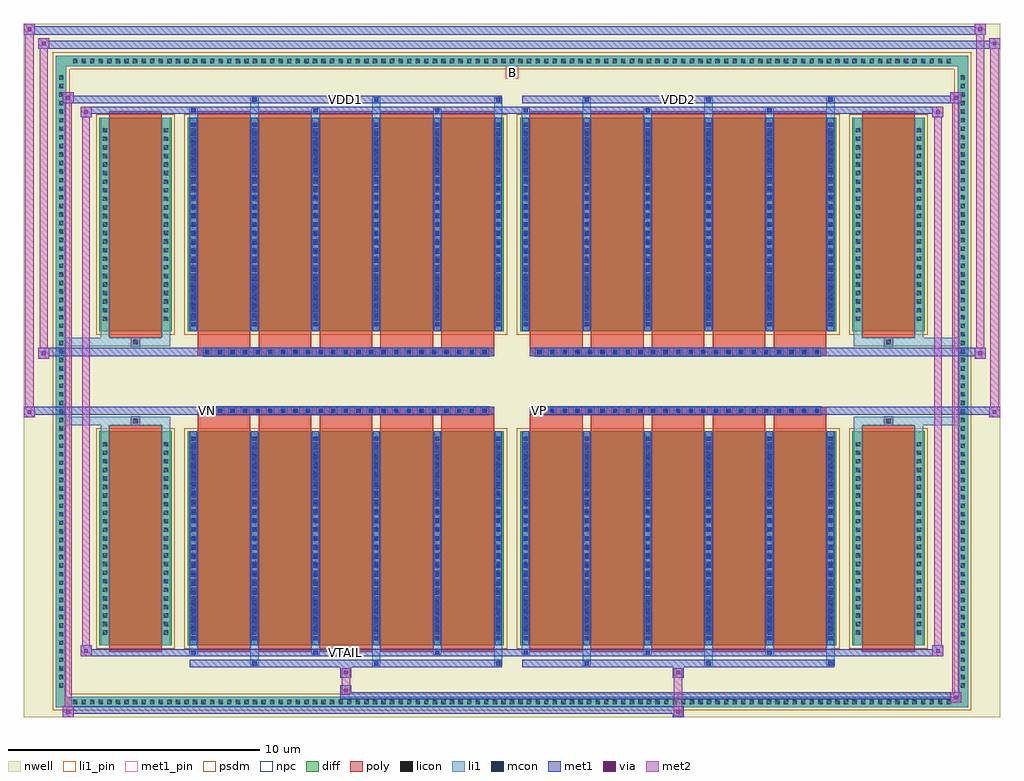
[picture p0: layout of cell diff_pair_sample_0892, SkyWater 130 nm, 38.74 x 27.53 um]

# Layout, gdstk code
import gdstk
lib = gdstk.Library(unit=1e-6, precision=5e-09)
def R(c, l, rs):  # rectangles x0, y0, x1, y1
    for r in rs: c.add(gdstk.rectangle(r[:2], r[2:], *l))
def A(c, l, x, y, w, h, nx, ny, dx, dy):  # array of equal rectangles
    R(c, l, [(x+i*dx, y+j*dy, x+i*dx+w, y+j*dy+h) for i in range(nx) for j in range(ny)])
def P(c, l, *ps):  # polygons
    for p in ps: c.add(gdstk.Polygon(p, *l))
nwell = (64, 20)
diff = (65, 20)
poly = (66, 20)
licon = (66, 44)
li1_pin = (67, 16)
li1 = (67, 20)
mcon = (67, 44)
met1_pin = (68, 16)
met1 = (68, 20)
via = (68, 44)
met2 = (69, 20)
psdm = (94, 20)
npc = (95, 20)

diff_pair_sample_0892 = lib.new_cell('diff_pair_sample_0892')
R(diff_pair_sample_0892, nwell, [(-19.37,-13.33,19.37,14.2), (-16.69,-11.52,-0.01,-0.8), (0.01,-11.52,16.69,-0.8), (-16.69,0.8,-0.01,11.52), (0.01,0.8,16.69,11.52)])
A(diff_pair_sample_0892, diff, -17.545, -12.93, 0.41, 0.41, 103, 2, 0.34, 25.45)
A(diff_pair_sample_0892, diff, -18.1, -12.275, 0.41, 0.41, 1, 72, 0, 0.34)
A(diff_pair_sample_0892, diff, 17.69, -12.275, 0.41, 0.41, 1, 72, 0, 0.34)
R(diff_pair_sample_0892, diff, [(-17.545,-12.93,17.545,-12.52), (-18.1,-12.275,-17.69,12.275), (17.69,-12.275,18.1,12.275), (-16.38,-10.475,-13.51,-1.985), (-12.87,-10.475,-0.32,-1.985), (0.32,-10.475,12.87,-1.985), (13.51,-10.475,16.38,-1.985), (-16.38,1.985,-13.51,10.475), (-12.87,1.985,-0.32,10.475), (0.32,1.985,12.87,10.475), (13.51,1.985,16.38,10.475), (-17.545,12.52,17.545,12.93)])
P(diff_pair_sample_0892, diff, [(18.1,12.93),(-18.1,12.93),(-18.1,-12.52),(-17.69,-12.52),(-17.69,12.52),(17.69,12.52),(17.69,-12.52),(-17.69,-12.52),(-18.1,-12.52),(-18.1,-12.93),(18.1,-12.93)])
A(diff_pair_sample_0892, poly, -12.48, -10.725, 2.09, 8.99, 5, 2, 2.42, 12.46)
A(diff_pair_sample_0892, poly, 0.71, -10.725, 2.09, 8.99, 5, 2, 2.42, 12.46)
A(diff_pair_sample_0892, poly, -12.48, -1.735, 2.09, 0.405, 5, 2, 2.42, 3.065)
A(diff_pair_sample_0892, poly, 0.71, -1.735, 2.09, 0.405, 5, 2, 2.42, 3.065)
A(diff_pair_sample_0892, poly, -12.26, -1.33, 0.33, 0.33, 23, 2, 0.5, 2.33)
A(diff_pair_sample_0892, poly, 0.93, -1.33, 0.33, 0.33, 23, 2, 0.5, 2.33)
R(diff_pair_sample_0892, poly, [(-15.99,-10.725,-13.9,-1.735), (13.9,-10.725,15.99,-1.735), (-15.11,-1.735,-14.78,-1.405), (-15.11,-1.735,-14.78,-1.405), (14.78,-1.735,15.11,-1.405), (14.78,-1.735,15.11,-1.405), (-12.48,-1.33,-0.71,-1), (0.71,-1.33,12.48,-1), (-12.48,1,-0.71,1.33), (0.71,1,12.48,1.33), (-15.11,1.405,-14.78,1.735), (-15.11,1.405,-14.78,1.735), (14.78,1.405,15.11,1.735), (14.78,1.405,15.11,1.735), (-15.99,1.735,-13.9,10.725), (13.9,1.735,15.99,10.725)])
A(diff_pair_sample_0892, licon, -17.425, -12.81, 0.17, 0.17, 103, 2, 0.34, 25.45)
A(diff_pair_sample_0892, licon, -17.98, -12.155, 0.17, 0.17, 1, 72, 0, 0.34)
A(diff_pair_sample_0892, licon, 17.81, -12.155, 0.17, 0.17, 1, 72, 0, 0.34)
A(diff_pair_sample_0892, licon, -16.24, -10.055, 0.17, 0.17, 1, 23, 0, 0.34)
A(diff_pair_sample_0892, licon, -13.82, -10.055, 0.17, 0.17, 1, 23, 0, 0.34)
A(diff_pair_sample_0892, licon, -12.73, -10.055, 0.17, 0.17, 6, 23, 2.42, 0.34)
A(diff_pair_sample_0892, licon, 0.46, -10.055, 0.17, 0.17, 6, 23, 2.42, 0.34)
A(diff_pair_sample_0892, licon, 13.65, -10.055, 0.17, 0.17, 1, 23, 0, 0.34)
A(diff_pair_sample_0892, licon, 16.07, -10.055, 0.17, 0.17, 1, 23, 0, 0.34)
A(diff_pair_sample_0892, licon, -12.18, -1.25, 0.17, 0.17, 23, 2, 0.5, 2.33)
A(diff_pair_sample_0892, licon, 1.01, -1.25, 0.17, 0.17, 23, 2, 0.5, 2.33)
A(diff_pair_sample_0892, licon, -16.24, 2.405, 0.17, 0.17, 1, 23, 0, 0.34)
A(diff_pair_sample_0892, licon, -13.82, 2.405, 0.17, 0.17, 1, 23, 0, 0.34)
A(diff_pair_sample_0892, licon, -12.73, 2.405, 0.17, 0.17, 6, 23, 2.42, 0.34)
A(diff_pair_sample_0892, licon, 0.46, 2.405, 0.17, 0.17, 6, 23, 2.42, 0.34)
A(diff_pair_sample_0892, licon, 13.65, 2.405, 0.17, 0.17, 1, 23, 0, 0.34)
A(diff_pair_sample_0892, licon, 16.07, 2.405, 0.17, 0.17, 1, 23, 0, 0.34)
R(diff_pair_sample_0892, licon, [(-15.03,-1.655,-14.86,-1.485), (14.86,-1.655,15.03,-1.485), (-15.03,1.485,-14.86,1.655), (14.86,1.485,15.03,1.655)])
R(diff_pair_sample_0892, li1_pin, [(-0.25,12.02,0.25,12.52)])
A(diff_pair_sample_0892, li1, -17.505, -12.89, 0.33, 0.33, 103, 2, 0.34, 25.45)
A(diff_pair_sample_0892, li1, -18.06, -12.235, 0.33, 0.33, 1, 72, 0, 0.34)
A(diff_pair_sample_0892, li1, 17.73, -12.235, 0.33, 0.33, 1, 72, 0, 0.34)
A(diff_pair_sample_0892, li1, -10.39, -11.28, 0.33, 0.805, 3, 2, 4.84, 21.755)
A(diff_pair_sample_0892, li1, -10.31, -11.28, 0.17, 0.17, 3, 2, 4.84, 22.39)
A(diff_pair_sample_0892, li1, 2.8, -11.28, 0.33, 0.805, 3, 2, 4.84, 21.755)
A(diff_pair_sample_0892, li1, 2.88, -11.28, 0.17, 0.17, 3, 2, 4.84, 22.39)
A(diff_pair_sample_0892, li1, -12.81, -10.85, 0.33, 0.375, 3, 2, 4.84, 21.325)
A(diff_pair_sample_0892, li1, -12.73, -10.85, 0.17, 0.17, 3, 2, 4.84, 21.53)
A(diff_pair_sample_0892, li1, 0.38, -10.85, 0.33, 0.375, 3, 2, 4.84, 21.325)
A(diff_pair_sample_0892, li1, 0.46, -10.85, 0.17, 0.17, 3, 2, 4.84, 21.53)
A(diff_pair_sample_0892, li1, -12.81, -10.475, 0.33, 8.49, 6, 2, 2.42, 12.46)
A(diff_pair_sample_0892, li1, 0.38, -10.475, 0.33, 8.49, 6, 2, 2.42, 12.46)
A(diff_pair_sample_0892, li1, -12.73, -10.275, 0.17, 0.17, 6, 23, 2.42, 0.36)
A(diff_pair_sample_0892, li1, -12.73, -10.275, 0.17, 8.09, 6, 2, 2.42, 12.46)
A(diff_pair_sample_0892, li1, 0.46, -10.275, 0.17, 0.17, 6, 23, 2.42, 0.36)
A(diff_pair_sample_0892, li1, 0.46, -10.275, 0.17, 8.09, 6, 2, 2.42, 12.46)
A(diff_pair_sample_0892, li1, -16.32, -10.135, 0.33, 0.33, 1, 23, 0, 0.34)
A(diff_pair_sample_0892, li1, -13.9, -10.135, 0.33, 0.33, 1, 23, 0, 0.34)
A(diff_pair_sample_0892, li1, -12.81, -10.135, 0.33, 0.33, 6, 23, 2.42, 0.34)
A(diff_pair_sample_0892, li1, 0.38, -10.135, 0.33, 0.33, 6, 23, 2.42, 0.34)
A(diff_pair_sample_0892, li1, 13.57, -10.135, 0.33, 0.33, 1, 23, 0, 0.34)
A(diff_pair_sample_0892, li1, 15.99, -10.135, 0.33, 0.33, 1, 23, 0, 0.34)
A(diff_pair_sample_0892, li1, -12.26, -1.33, 0.33, 0.33, 23, 2, 0.5, 2.33)
A(diff_pair_sample_0892, li1, 0.93, -1.33, 0.33, 0.33, 23, 2, 0.5, 2.33)
A(diff_pair_sample_0892, li1, -12.73, 2.185, 0.17, 0.17, 6, 23, 2.42, 0.36)
A(diff_pair_sample_0892, li1, 0.46, 2.185, 0.17, 0.17, 6, 23, 2.42, 0.36)
A(diff_pair_sample_0892, li1, -16.32, 2.325, 0.33, 0.33, 1, 23, 0, 0.34)
A(diff_pair_sample_0892, li1, -13.9, 2.325, 0.33, 0.33, 1, 23, 0, 0.34)
A(diff_pair_sample_0892, li1, -12.81, 2.325, 0.33, 0.33, 6, 23, 2.42, 0.34)
A(diff_pair_sample_0892, li1, 0.38, 2.325, 0.33, 0.33, 6, 23, 2.42, 0.34)
A(diff_pair_sample_0892, li1, 13.57, 2.325, 0.33, 0.33, 1, 23, 0, 0.34)
A(diff_pair_sample_0892, li1, 15.99, 2.325, 0.33, 0.33, 1, 23, 0, 0.34)
R(diff_pair_sample_0892, li1, [(-18.1,-12.93,-17.69,-12.52), (-18.1,-12.93,-17.69,-12.52), (-17.69,-12.93,17.69,-12.52), (17.69,-12.93,18.1,-12.52), (17.69,-12.93,18.1,-12.52), (-18.1,-12.52,-17.69,12.52), (17.69,-12.52,18.1,12.52), (-16.32,-10.475,-15.99,-1.985), (-13.9,-10.475,-13.57,-1.985), (13.57,-10.475,13.9,-1.985), (15.99,-10.475,16.32,-1.985), (-16.32,-1.985,-15.99,-1.405), (-13.9,-1.985,-13.57,-1.405), (13.57,-1.985,13.9,-1.405), (15.99,-1.985,16.32,-1.405), (-18.1,-1.735,-15.11,-1.405), (-16.32,-1.735,-15.11,-1.405), (-15.11,-1.735,-14.78,-1.405), (-14.78,-1.735,-13.57,-1.405), (13.57,-1.735,14.78,-1.405), (14.78,-1.735,15.11,-1.405), (14.78,-1.735,18.1,-1.405), (15.11,-1.735,16.32,-1.405), (-18.1,1.405,-15.11,1.735), (-16.32,1.405,-15.11,1.735), (-16.32,1.405,-15.99,1.985), (-15.11,1.405,-14.78,1.735), (-14.78,1.405,-13.57,1.735), (-13.9,1.405,-13.57,1.985), (13.57,1.405,14.78,1.735), (13.57,1.405,13.9,1.985), (14.78,1.405,15.11,1.735), (14.78,1.405,18.1,1.735), (15.11,1.405,16.32,1.735), (15.99,1.405,16.32,1.985), (-16.32,1.985,-15.99,10.475), (-13.9,1.985,-13.57,10.475), (13.57,1.985,13.9,10.475), (15.99,1.985,16.32,10.475), (-18.1,12.52,-17.69,12.93), (-18.1,12.52,-17.69,12.93), (-17.69,12.52,17.69,12.93), (17.69,12.52,18.1,12.93), (17.69,12.52,18.1,12.93)])
A(diff_pair_sample_0892, mcon, -10.31, -11.28, 0.17, 0.17, 3, 2, 4.84, 22.39)
A(diff_pair_sample_0892, mcon, 2.88, -11.28, 0.17, 0.17, 3, 2, 4.84, 22.39)
A(diff_pair_sample_0892, mcon, -12.73, -10.85, 0.17, 0.17, 3, 2, 4.84, 21.53)
A(diff_pair_sample_0892, mcon, 0.46, -10.85, 0.17, 0.17, 3, 2, 4.84, 21.53)
A(diff_pair_sample_0892, mcon, -12.73, -10.275, 0.17, 0.17, 6, 23, 2.42, 0.36)
A(diff_pair_sample_0892, mcon, 0.46, -10.275, 0.17, 0.17, 6, 23, 2.42, 0.36)
A(diff_pair_sample_0892, mcon, -12.18, -1.25, 0.17, 0.17, 23, 2, 0.5, 2.33)
A(diff_pair_sample_0892, mcon, 1.01, -1.25, 0.17, 0.17, 23, 2, 0.5, 2.33)
A(diff_pair_sample_0892, mcon, -12.73, 2.185, 0.17, 0.17, 6, 23, 2.42, 0.36)
A(diff_pair_sample_0892, mcon, 0.46, 2.185, 0.17, 0.17, 6, 23, 2.42, 0.36)
R(diff_pair_sample_0892, met1_pin, [(-6.73,-10.89,-6.46,-10.62), (-12.23,-1.29,-11.96,-1.02), (0.96,-1.29,1.23,-1.02), (-6.73,11.07,-6.46,11.34), (6.46,11.07,6.73,11.34)])
A(diff_pair_sample_0892, met1, -10.37, -11.34, 0.29, 0.29, 3, 2, 4.84, 22.39)
A(diff_pair_sample_0892, met1, 2.82, -11.34, 0.29, 0.29, 3, 2, 4.84, 22.39)
A(diff_pair_sample_0892, met1, -12.79, -10.91, 0.29, 0.29, 3, 2, 4.84, 21.53)
A(diff_pair_sample_0892, met1, 0.4, -10.91, 0.29, 0.29, 3, 2, 4.84, 21.53)
A(diff_pair_sample_0892, met1, -12.79, -10.475, 0.29, 8.49, 6, 2, 2.42, 12.46)
A(diff_pair_sample_0892, met1, 0.4, -10.475, 0.29, 8.49, 6, 2, 2.42, 12.46)
A(diff_pair_sample_0892, met1, -12.79, -10.335, 0.29, 0.29, 6, 23, 2.42, 0.36)
A(diff_pair_sample_0892, met1, 0.4, -10.335, 0.29, 0.29, 6, 23, 2.42, 0.36)
A(diff_pair_sample_0892, met1, -12.24, -1.31, 0.29, 0.29, 23, 2, 0.5, 2.33)
A(diff_pair_sample_0892, met1, 0.95, -1.31, 0.29, 0.29, 23, 2, 0.5, 2.33)
A(diff_pair_sample_0892, met1, -12.79, 2.125, 0.29, 0.29, 6, 23, 2.42, 0.36)
A(diff_pair_sample_0892, met1, 0.4, 2.125, 0.29, 0.29, 6, 23, 2.42, 0.36)
R(diff_pair_sample_0892, met1, [(-17.83,-13.33,-17.4,-12.9), (6.38,-13.33,6.81,-12.9), (-17.83,-13.19,6.81,-12.9), (17.4,-12.76,17.83,-12.33), (-6.81,-12.62,17.83,-12.33), (-6.81,-12.48,-6.38,-12.05), (-6.81,-11.77,-6.38,-11.34), (6.38,-11.77,6.81,-11.34), (-12.79,-11.34,-0.4,-11.05), (0.4,-11.34,12.79,-11.05), (-17.12,-10.91,-16.69,-10.48), (-17.12,-10.91,-12.79,-10.62), (-12.79,-10.91,-0.4,-10.62), (-0.4,-10.91,0.4,-10.62), (0.4,-10.91,12.79,-10.62), (12.79,-10.91,17.12,-10.62), (16.69,-10.91,17.12,-10.48), (-19.37,-1.43,-18.94,-1), (18.94,-1.43,19.37,-1), (-19.37,-1.33,-0.71,-1), (-12.48,-1.33,-0.71,-1), (0.71,-1.33,12.48,-1), (0.71,-1.33,19.37,-1), (-18.8,0.9,-18.37,1.33), (18.37,0.9,18.8,1.33), (-18.8,1,-12.48,1.33), (-12.48,1,-0.71,1.33), (0.71,1,12.48,1.33), (12.48,1,18.8,1.33), (-17.12,10.48,-16.69,10.91), (16.69,10.48,17.12,10.91), (-17.12,10.62,-12.79,10.91), (-12.79,10.62,-0.4,10.91), (-0.4,10.62,0.4,10.91), (0.4,10.62,12.79,10.91), (12.79,10.62,17.12,10.91), (-17.83,11.05,-17.4,11.48), (-17.83,11.05,-12.79,11.34), (-12.79,11.05,-0.4,11.34), (0.4,11.05,12.79,11.34), (12.79,11.05,17.83,11.34), (17.4,11.05,17.83,11.48), (-18.8,13.2,-18.37,13.63), (-18.8,13.2,-16.69,13.53), (-16.69,13.2,16.69,13.53), (16.69,13.2,19.37,13.53), (18.94,13.2,19.37,13.63), (-19.37,13.77,-18.94,14.2), (-19.37,13.77,-16.69,14.1), (-16.69,13.77,16.69,14.1), (16.69,13.77,18.8,14.1), (18.37,13.77,18.8,14.2)])
R(diff_pair_sample_0892, via, [(-17.69,-13.19,-17.54,-13.04), (6.52,-13.19,6.67,-13.04), (17.54,-12.62,17.69,-12.47), (-6.67,-12.34,-6.52,-12.19), (-6.67,-11.63,-6.52,-11.48), (6.52,-11.63,6.67,-11.48), (-16.98,-10.77,-16.83,-10.62), (16.83,-10.77,16.98,-10.62), (-19.23,-1.29,-19.08,-1.14), (19.08,-1.29,19.23,-1.14), (-18.66,1.04,-18.51,1.19), (18.51,1.04,18.66,1.19), (-16.98,10.62,-16.83,10.77), (16.83,10.62,16.98,10.77), (-17.69,11.19,-17.54,11.34), (17.54,11.19,17.69,11.34), (-18.66,13.34,-18.51,13.49), (19.08,13.34,19.23,13.49), (-19.23,13.91,-19.08,14.06), (18.51,13.91,18.66,14.06)])
R(diff_pair_sample_0892, met2, [(-17.83,-13.33,-17.4,-12.9), (-17.76,-13.33,-17.47,11.48), (-17.47,-13.33,-17.4,-12.9), (-17.78,-13.28,-17.45,-12.95), (6.43,-13.28,6.76,-12.95), (6.43,-12.95,6.76,-11.72), (17.4,-12.76,17.83,-12.33), (17.47,-12.76,17.76,11.48), (17.76,-12.76,17.83,-12.33), (17.45,-12.71,17.78,-12.38), (-6.76,-12.43,-6.43,-12.1), (-6.76,-12.1,-6.43,-11.72), (-6.76,-11.72,-6.43,-11.39), (6.43,-11.72,6.76,-11.39), (-17.12,-10.91,-16.69,-10.48), (-17.05,-10.91,-16.76,10.91), (-16.76,-10.91,-16.69,-10.48), (16.69,-10.91,17.12,-10.48), (16.76,-10.91,17.05,10.91), (17.05,-10.91,17.12,-10.48), (-17.07,-10.86,-16.74,-10.53), (16.74,-10.86,17.07,-10.53), (-19.37,-1.43,-18.94,-1), (-19.32,-1.43,-18.99,14.2), (-18.99,-1.43,-18.94,-1), (18.94,-1.43,19.37,-1), (18.99,-1.43,19.32,13.63), (19.32,-1.43,19.37,-1), (-19.32,-1.38,-18.99,-1.05), (18.99,-1.38,19.32,-1.05), (-18.8,0.9,-18.37,1.33), (-18.75,0.9,-18.42,13.63), (-18.42,0.9,-18.37,1.33), (18.37,0.9,18.8,1.33), (18.42,0.9,18.75,14.2), (18.75,0.9,18.8,1.33), (-18.75,0.95,-18.42,1.28), (18.42,0.95,18.75,1.28), (-17.12,10.48,-16.69,10.91), (-16.76,10.48,-16.69,10.91), (16.69,10.48,17.12,10.91), (17.05,10.48,17.12,10.91), (-17.07,10.53,-16.74,10.86), (16.74,10.53,17.07,10.86), (-17.83,11.05,-17.4,11.48), (-17.47,11.05,-17.4,11.48), (17.4,11.05,17.83,11.48), (17.76,11.05,17.83,11.48), (-17.78,11.1,-17.45,11.43), (17.45,11.1,17.78,11.43), (-18.8,13.2,-18.37,13.63), (-18.42,13.2,-18.37,13.63), (18.94,13.2,19.37,13.63), (19.32,13.2,19.37,13.63), (-18.75,13.25,-18.42,13.58), (18.99,13.25,19.32,13.58), (-19.37,13.77,-18.94,14.2), (-18.99,13.77,-18.94,14.2), (18.37,13.77,18.8,14.2), (18.75,13.77,18.8,14.2), (-19.32,13.82,-18.99,14.15), (18.42,13.82,18.75,14.15)])
R(diff_pair_sample_0892, psdm, [(-16.51,-10.605,-13.38,-1.855), (-13,-10.605,-0.19,-1.855), (0.19,-10.605,13,-1.855), (13.38,-10.605,16.51,-1.855), (-16.51,1.855,-13.38,10.605), (-13,1.855,-0.19,10.605), (0.19,1.855,13,10.605), (13.38,1.855,16.51,10.605)])
P(diff_pair_sample_0892, psdm, [(18.23,13.06),(-18.23,13.06),(-18.23,-12.39),(-17.56,-12.39),(-17.56,12.39),(17.56,12.39),(17.56,-12.39),(-17.56,-12.39),(-18.23,-12.39),(-18.23,-13.06),(18.23,-13.06)])
A(diff_pair_sample_0892, npc, -12.28, -1.35, 0.37, 0.37, 23, 2, 0.5, 2.33)
A(diff_pair_sample_0892, npc, 0.91, -1.35, 0.37, 0.37, 23, 2, 0.5, 2.33)
R(diff_pair_sample_0892, npc, [(-15.13,-1.755,-14.76,-1.385), (14.76,-1.755,15.13,-1.385), (-12.28,-1.35,-11.41,-0.98), (-12.28,-1.35,-11.41,-0.98), (-11.78,-1.35,-10.91,-0.98), (-11.78,-1.35,-10.91,-0.98), (-11.28,-1.35,-10.41,-0.98), (-11.28,-1.35,-10.41,-0.98), (-10.78,-1.35,-9.91,-0.98), (-10.78,-1.35,-9.91,-0.98), (-10.28,-1.35,-9.41,-0.98), (-10.28,-1.35,-9.41,-0.98), (-9.78,-1.35,-8.91,-0.98), (-9.78,-1.35,-8.91,-0.98), (-9.28,-1.35,-8.41,-0.98), (-9.28,-1.35,-8.41,-0.98), (-8.78,-1.35,-7.91,-0.98), (-8.78,-1.35,-7.91,-0.98), (-8.28,-1.35,-7.41,-0.98), (-8.28,-1.35,-7.41,-0.98), (-7.78,-1.35,-6.91,-0.98), (-7.78,-1.35,-6.91,-0.98), (-7.28,-1.35,-6.41,-0.98), (-7.28,-1.35,-6.41,-0.98), (-6.78,-1.35,-5.91,-0.98), (-6.78,-1.35,-5.91,-0.98), (-6.28,-1.35,-5.41,-0.98), (-6.28,-1.35,-5.41,-0.98), (-5.78,-1.35,-4.91,-0.98), (-5.78,-1.35,-4.91,-0.98), (-5.28,-1.35,-4.41,-0.98), (-5.28,-1.35,-4.41,-0.98), (-4.78,-1.35,-3.91,-0.98), (-4.78,-1.35,-3.91,-0.98), (-4.28,-1.35,-3.41,-0.98), (-4.28,-1.35,-3.41,-0.98), (-3.78,-1.35,-2.91,-0.98), (-3.78,-1.35,-2.91,-0.98), (-3.28,-1.35,-2.41,-0.98), (-3.28,-1.35,-2.41,-0.98), (-2.78,-1.35,-1.91,-0.98), (-2.78,-1.35,-1.91,-0.98), (-2.28,-1.35,-1.41,-0.98), (-2.28,-1.35,-1.41,-0.98), (-1.78,-1.35,-0.91,-0.98), (-1.78,-1.35,-0.91,-0.98), (0.91,-1.35,1.78,-0.98), (0.91,-1.35,1.78,-0.98), (1.41,-1.35,2.28,-0.98), (1.41,-1.35,2.28,-0.98), (1.91,-1.35,2.78,-0.98), (1.91,-1.35,2.78,-0.98), (2.41,-1.35,3.28,-0.98), (2.41,-1.35,3.28,-0.98), (2.91,-1.35,3.78,-0.98), (2.91,-1.35,3.78,-0.98), (3.41,-1.35,4.28,-0.98), (3.41,-1.35,4.28,-0.98), (3.91,-1.35,4.78,-0.98), (3.91,-1.35,4.78,-0.98), (4.41,-1.35,5.28,-0.98), (4.41,-1.35,5.28,-0.98), (4.91,-1.35,5.78,-0.98), (4.91,-1.35,5.78,-0.98), (5.41,-1.35,6.28,-0.98), (5.41,-1.35,6.28,-0.98), (5.91,-1.35,6.78,-0.98), (5.91,-1.35,6.78,-0.98), (6.41,-1.35,7.28,-0.98), (6.41,-1.35,7.28,-0.98), (6.91,-1.35,7.78,-0.98), (6.91,-1.35,7.78,-0.98), (7.41,-1.35,8.28,-0.98), (7.41,-1.35,8.28,-0.98), (7.91,-1.35,8.78,-0.98), (7.91,-1.35,8.78,-0.98), (8.41,-1.35,9.28,-0.98), (8.41,-1.35,9.28,-0.98), (8.91,-1.35,9.78,-0.98), (8.91,-1.35,9.78,-0.98), (9.41,-1.35,10.28,-0.98), (9.41,-1.35,10.28,-0.98), (9.91,-1.35,10.78,-0.98), (9.91,-1.35,10.78,-0.98), (10.41,-1.35,11.28,-0.98), (10.41,-1.35,11.28,-0.98), (10.91,-1.35,11.78,-0.98), (10.91,-1.35,11.78,-0.98), (11.41,-1.35,12.28,-0.98), (11.41,-1.35,12.28,-0.98), (-12.28,0.98,-11.41,1.35), (-12.28,0.98,-11.41,1.35), (-11.78,0.98,-10.91,1.35), (-11.78,0.98,-10.91,1.35), (-11.28,0.98,-10.41,1.35), (-11.28,0.98,-10.41,1.35), (-10.78,0.98,-9.91,1.35), (-10.78,0.98,-9.91,1.35), (-10.28,0.98,-9.41,1.35), (-10.28,0.98,-9.41,1.35), (-9.78,0.98,-8.91,1.35), (-9.78,0.98,-8.91,1.35), (-9.28,0.98,-8.41,1.35), (-9.28,0.98,-8.41,1.35), (-8.78,0.98,-7.91,1.35), (-8.78,0.98,-7.91,1.35), (-8.28,0.98,-7.41,1.35), (-8.28,0.98,-7.41,1.35), (-7.78,0.98,-6.91,1.35), (-7.78,0.98,-6.91,1.35), (-7.28,0.98,-6.41,1.35), (-7.28,0.98,-6.41,1.35), (-6.78,0.98,-5.91,1.35), (-6.78,0.98,-5.91,1.35), (-6.28,0.98,-5.41,1.35), (-6.28,0.98,-5.41,1.35), (-5.78,0.98,-4.91,1.35), (-5.78,0.98,-4.91,1.35), (-5.28,0.98,-4.41,1.35), (-5.28,0.98,-4.41,1.35), (-4.78,0.98,-3.91,1.35), (-4.78,0.98,-3.91,1.35), (-4.28,0.98,-3.41,1.35), (-4.28,0.98,-3.41,1.35), (-3.78,0.98,-2.91,1.35), (-3.78,0.98,-2.91,1.35), (-3.28,0.98,-2.41,1.35), (-3.28,0.98,-2.41,1.35), (-2.78,0.98,-1.91,1.35), (-2.78,0.98,-1.91,1.35), (-2.28,0.98,-1.41,1.35), (-2.28,0.98,-1.41,1.35), (-1.78,0.98,-0.91,1.35), (-1.78,0.98,-0.91,1.35), (0.91,0.98,1.78,1.35), (0.91,0.98,1.78,1.35), (1.41,0.98,2.28,1.35), (1.41,0.98,2.28,1.35), (1.91,0.98,2.78,1.35), (1.91,0.98,2.78,1.35), (2.41,0.98,3.28,1.35), (2.41,0.98,3.28,1.35), (2.91,0.98,3.78,1.35), (2.91,0.98,3.78,1.35), (3.41,0.98,4.28,1.35), (3.41,0.98,4.28,1.35), (3.91,0.98,4.78,1.35), (3.91,0.98,4.78,1.35), (4.41,0.98,5.28,1.35), (4.41,0.98,5.28,1.35), (4.91,0.98,5.78,1.35), (4.91,0.98,5.78,1.35), (5.41,0.98,6.28,1.35), (5.41,0.98,6.28,1.35), (5.91,0.98,6.78,1.35), (5.91,0.98,6.78,1.35), (6.41,0.98,7.28,1.35), (6.41,0.98,7.28,1.35), (6.91,0.98,7.78,1.35), (6.91,0.98,7.78,1.35), (7.41,0.98,8.28,1.35), (7.41,0.98,8.28,1.35), (7.91,0.98,8.78,1.35), (7.91,0.98,8.78,1.35), (8.41,0.98,9.28,1.35), (8.41,0.98,9.28,1.35), (8.91,0.98,9.78,1.35), (8.91,0.98,9.78,1.35), (9.41,0.98,10.28,1.35), (9.41,0.98,10.28,1.35), (9.91,0.98,10.78,1.35), (9.91,0.98,10.78,1.35), (10.41,0.98,11.28,1.35), (10.41,0.98,11.28,1.35), (10.91,0.98,11.78,1.35), (10.91,0.98,11.78,1.35), (11.41,0.98,12.28,1.35), (11.41,0.98,12.28,1.35), (-15.13,1.385,-14.76,1.755), (14.76,1.385,15.13,1.755)])
diff_pair_sample_0892.add(gdstk.Label('VTAIL', (-6.595,-10.755), layer=68, texttype=5))
diff_pair_sample_0892.add(gdstk.Label('VN', (-12.095,-1.155), layer=68, texttype=5))
diff_pair_sample_0892.add(gdstk.Label('VP', (1.095,-1.155), layer=68, texttype=5))
diff_pair_sample_0892.add(gdstk.Label('B', (0,12.27), layer=67, texttype=5))
diff_pair_sample_0892.add(gdstk.Label('VDD2', (6.595,11.205), layer=68, texttype=5))
diff_pair_sample_0892.add(gdstk.Label('VDD1', (-6.595,11.205), layer=68, texttype=5))

lib.write_gds('diff_pair_sample_0892.gds')
